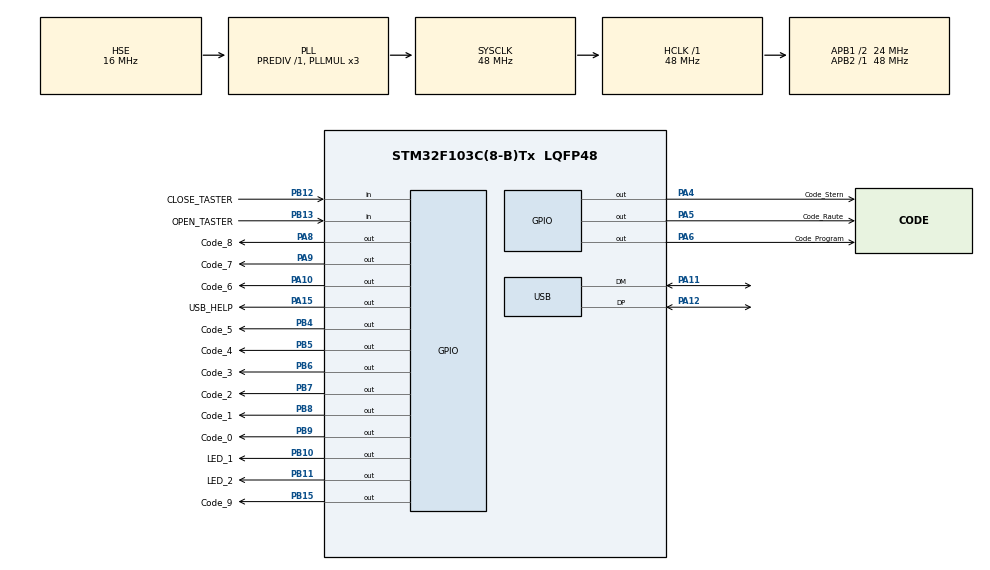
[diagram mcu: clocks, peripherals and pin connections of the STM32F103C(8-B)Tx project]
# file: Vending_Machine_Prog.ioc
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Mcu.Family=STM32F1
Mcu.Name=STM32F103C(8-B)Tx
Mcu.Package=LQFP48
NVIC.PriorityGroup=NVIC_PRIORITYGROUP_4
NVIC.USB_LP_CAN1_RX0_IRQn=true\:0\:0\:false\:false\:true\:false\:true\:true
PA10.GPIO_Label=Code_6
PA10.Signal=GPIO_Output
PA11.Mode=Device
PA11.Signal=USB_DM
PA12.Mode=Device
PA12.Signal=USB_DP
PA15.GPIO_Label=USB_HELP
PA15.Signal=GPIO_Output
PA4.GPIO_Label=Code_Stern
PA4.Signal=GPIO_Output
PA5.GPIO_Label=Code_Raute
PA5.Signal=GPIO_Output
PA6.GPIO_Label=Code_Program
PA6.Signal=GPIO_Output
PA8.GPIO_Label=Code_8
PA8.Signal=GPIO_Output
PA9.GPIO_Label=Code_7
PA9.Signal=GPIO_Output
PB10.GPIO_Label=LED_1
PB10.Signal=GPIO_Output
PB11.GPIO_Label=LED_2
PB11.Signal=GPIO_Output
PB12.GPIO_Label=CLOSE_TASTER
PB12.Signal=GPIO_Input
PB13.GPIO_Label=OPEN_TASTER
PB13.Signal=GPIO_Input
PB15.GPIO_Label=Code_9
PB15.Signal=GPIO_Output
PB4.GPIO_Label=Code_5
PB4.Signal=GPIO_Output
PB5.GPIO_Label=Code_4
PB5.Signal=GPIO_Output
PB6.GPIO_Label=Code_3
PB6.Signal=GPIO_Output
PB7.GPIO_Label=Code_2
PB7.Signal=GPIO_Output
PB8.GPIO_Label=Code_1
PB8.Signal=GPIO_Output
PB9.GPIO_Label=Code_0
PB9.Signal=GPIO_Output
PD0-OSC_IN.Mode=HSE-External-Oscillator
PD0-OSC_IN.Signal=RCC_OSC_IN
PD1-OSC_OUT.Mode=HSE-External-Oscillator
PD1-OSC_OUT.Signal=RCC_OSC_OUT
ProjectManager.HeapSize=0x200
ProjectManager.StackSize=0x400
ProjectManager.TargetToolchain=CMake
RCC.AHBFreq_Value=48000000
RCC.APB1CLKDivider=RCC_HCLK_DIV2
RCC.APB1Freq_Value=24000000
RCC.APB1TimFreq_Value=48000000
RCC.APB2Freq_Value=48000000
RCC.APB2TimFreq_Value=48000000
RCC.HCLKFreq_Value=48000000
RCC.HSE_VALUE=16000000
RCC.PLLMUL=RCC_PLL_MUL3
RCC.SYSCLKFreq_VALUE=48000000
RCC.SYSCLKSource=RCC_SYSCLKSOURCE_PLLCLK
RCC.USBFreq_Value=48000000
USB_DEVICE.CLASS_NAME_FS=CDC
USB_DEVICE.PRODUCT_STRING_CDC_FS=Vending Machine Programmer
USB_DEVICE.VirtualMode=Cdc
USB_DEVICE.VirtualModeFS=Cdc_FS
VP_SYS_VS_ND.Mode=No_Debug
VP_USB_DEVICE_VS_USB_DEVICE_CDC_FS.Mode=CDC_FS
board=custom

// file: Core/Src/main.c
/* USER CODE BEGIN Header */
/**
  ******************************************************************************
  * @file           : main.c
  * @brief          : Main program body
  ******************************************************************************
  * @attention
  *
  * Copyright (c) 2025 STMicroelectronics.
  * All rights reserved.
  *
  * This software is licensed under terms that can be found in the LICENSE file
  * in the root directory of this software component.
  * If no LICENSE file comes with this software, it is provided AS-IS.
  *
  ******************************************************************************
  */
/* USER CODE END Header */
#include "main.h"
#include "usb_device.h"
#include "gpio.h"

/* USER CODE BEGIN Includes */
#include "usbd_cdc_if.h"
#include "string.h"
/* USER CODE END Includes */

void SystemClock_Config(void);

/* USER CODE BEGIN 0 */
void USB_CDC_RxHandler(uint8_t* Buf, uint32_t Len)
{
    //CDC_Transmit_FS(Buf, Len);

    switch(Buf[0]) // Check the first character of the buffer
    {
        case '1':
            HAL_GPIO_TogglePin(LED_1_GPIO_Port, LED_1_Pin); // Toggle LED 1
            CDC_Transmit_FS((uint8_t*) "LED 1 toggled\r\n", 16); // Send confirmation
            break;
        case '2':
            HAL_GPIO_TogglePin(LED_2_GPIO_Port, LED_2_Pin); // Toggle LED 2
            CDC_Transmit_FS((uint8_t*) "LED 2 toggled\r\n", 16); // Send confirmation
            break;
        default:
            CDC_Transmit_FS((uint8_t*) "Unknown command\r\n", 17); // Send unknown command message
            break;
    }

}
/* USER CODE END 0 */

int main(void)
{

  /* MCU Configuration--------------------------------------------------------*/

  /* Reset of all peripherals, Initializes the Flash interface and the Systick. */
  HAL_Init();

  /* Configure the system clock */
  SystemClock_Config();

  /* Initialize all configured peripherals */
  MX_GPIO_Init();
  HAL_GPIO_WritePin(GPIOA, GPIO_PIN_15, GPIO_PIN_SET);

  HAL_Delay(100);

  MX_USB_DEVICE_Init();

  /* USER CODE BEGIN 2 */
  char buffer[] = "Hello, World!\r\n";
  /* USER CODE END 2 */

  /* Infinite loop */
  /* USER CODE BEGIN WHILE */
  while (1)
  {

    /* USER CODE END 2 */

    /* Infinite loop */
    /* USER CODE BEGIN WHILE */
    //HAL_GPIO_TogglePin(LED_1_GPIO_Port, LED_1_Pin); // Toggle LED 1

  //  HAL_Delay(500);

  //  CDC_Receive_FS((uint8_t*) &buffer, &len); // Prepare to receive data

   // if(buffer[0] == 'a') // Check if the first character is '1'
   // {
     // HAL_GPIO_TogglePin(LED_2_GPIO_Port, LED_2_Pin); // Toggle LED 2
    //  CDC_Transmit_FS((uint8_t*) "LED 2 toggled\r\n", 16); // Send confirmation
   // }

   // CDC_Transmit_FS((uint8_t*) &buffer, strlen(buffer));

    /* USER CODE END WHILE */

  }
}

void SystemClock_Config(void)
{
  RCC_OscInitTypeDef RCC_OscInitStruct = {0};
  RCC_ClkInitTypeDef RCC_ClkInitStruct = {0};
  RCC_PeriphCLKInitTypeDef PeriphClkInit = {0};

  /** Initializes the RCC Oscillators according to the specified parameters
  * in the RCC_OscInitTypeDef structure.
  */
  RCC_OscInitStruct.OscillatorType = RCC_OSCILLATORTYPE_HSE;
  RCC_OscInitStruct.HSEState = RCC_HSE_ON;
  RCC_OscInitStruct.HSEPredivValue = RCC_HSE_PREDIV_DIV1;
  RCC_OscInitStruct.HSIState = RCC_HSI_ON;
  RCC_OscInitStruct.PLL.PLLState = RCC_PLL_ON;
  RCC_OscInitStruct.PLL.PLLSource = RCC_PLLSOURCE_HSE;
  RCC_OscInitStruct.PLL.PLLMUL = RCC_PLL_MUL3;
  if (HAL_RCC_OscConfig(&RCC_OscInitStruct) != HAL_OK)
  {
    Error_Handler();
  }

  /** Initializes the CPU, AHB and APB buses clocks
  */
  RCC_ClkInitStruct.ClockType = RCC_CLOCKTYPE_HCLK|RCC_CLOCKTYPE_SYSCLK
                              |RCC_CLOCKTYPE_PCLK1|RCC_CLOCKTYPE_PCLK2;
  RCC_ClkInitStruct.SYSCLKSource = RCC_SYSCLKSOURCE_PLLCLK;
  RCC_ClkInitStruct.AHBCLKDivider = RCC_SYSCLK_DIV1;
  RCC_ClkInitStruct.APB1CLKDivider = RCC_HCLK_DIV2;
  RCC_ClkInitStruct.APB2CLKDivider = RCC_HCLK_DIV1;

  if (HAL_RCC_ClockConfig(&RCC_ClkInitStruct, FLASH_LATENCY_1) != HAL_OK)
  {
    Error_Handler();
  }
  PeriphClkInit.PeriphClockSelection = RCC_PERIPHCLK_USB;
  PeriphClkInit.UsbClockSelection = RCC_USBCLKSOURCE_PLL;
  if (HAL_RCCEx_PeriphCLKConfig(&PeriphClkInit) != HAL_OK)
  {
    Error_Handler();
  }
}

void Error_Handler(void)
{
  __disable_irq();
  while (1)
  {
  }
}
